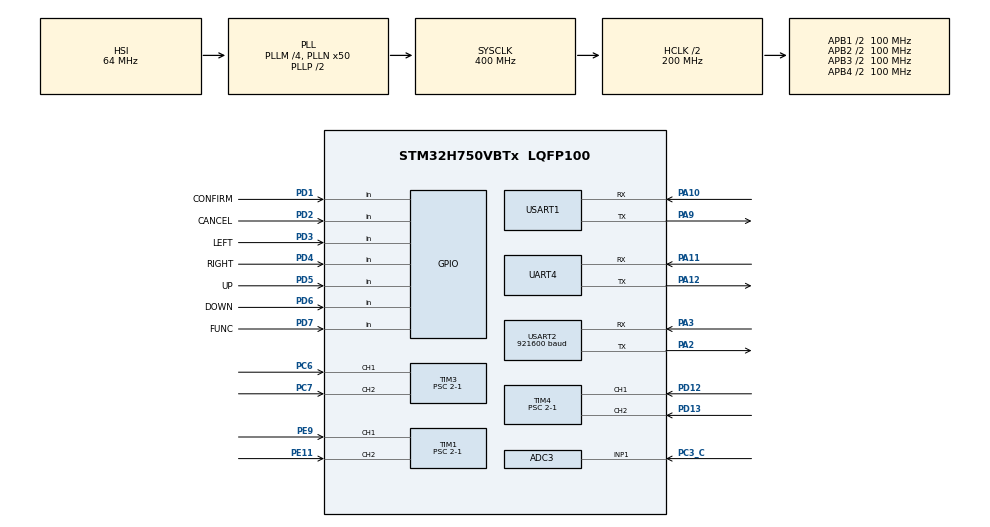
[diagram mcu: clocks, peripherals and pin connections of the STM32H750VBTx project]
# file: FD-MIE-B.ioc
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ADC3.Channel-0\#ChannelRegularConversion=ADC_CHANNEL_1
ADC3.NbrOfConversionFlag=1
ADC3.OffsetNumber-0\#ChannelRegularConversion=ADC_OFFSET_NONE
ADC3.OffsetSignedSaturation-0\#ChannelRegularConversion=DISABLE
ADC3.Rank-0\#ChannelRegularConversion=1
ADC3.SamplingTime-0\#ChannelRegularConversion=ADC_SAMPLETIME_1CYCLE_5
Dma.Request0=TIM2_UP
Dma.Request1=USART1_TX
Dma.TIM2_UP.0.Direction=DMA_PERIPH_TO_MEMORY
Dma.TIM2_UP.0.EventEnable=DISABLE
Dma.TIM2_UP.0.FIFOMode=DMA_FIFOMODE_DISABLE
Dma.TIM2_UP.0.Instance=DMA1_Stream1
Dma.TIM2_UP.0.MemDataAlignment=DMA_MDATAALIGN_WORD
Dma.TIM2_UP.0.MemInc=DMA_MINC_ENABLE
Dma.TIM2_UP.0.Mode=DMA_CIRCULAR
Dma.TIM2_UP.0.PeriphDataAlignment=DMA_PDATAALIGN_WORD
Dma.TIM2_UP.0.PeriphInc=DMA_PINC_DISABLE
Dma.TIM2_UP.0.Polarity=HAL_DMAMUX_REQ_GEN_RISING
Dma.TIM2_UP.0.Priority=DMA_PRIORITY_LOW
Dma.TIM2_UP.0.RequestNumber=1
Dma.TIM2_UP.0.SignalID=NONE
Dma.TIM2_UP.0.SyncEnable=DISABLE
Dma.TIM2_UP.0.SyncPolarity=HAL_DMAMUX_SYNC_NO_EVENT
Dma.TIM2_UP.0.SyncRequestNumber=1
Dma.TIM2_UP.0.SyncSignalID=NONE
Dma.USART1_TX.1.Direction=DMA_MEMORY_TO_PERIPH
Dma.USART1_TX.1.EventEnable=DISABLE
Dma.USART1_TX.1.FIFOMode=DMA_FIFOMODE_DISABLE
Dma.USART1_TX.1.Instance=DMA1_Stream2
Dma.USART1_TX.1.MemDataAlignment=DMA_MDATAALIGN_BYTE
Dma.USART1_TX.1.MemInc=DMA_MINC_ENABLE
Dma.USART1_TX.1.Mode=DMA_NORMAL
Dma.USART1_TX.1.PeriphDataAlignment=DMA_PDATAALIGN_BYTE
Dma.USART1_TX.1.PeriphInc=DMA_PINC_DISABLE
Dma.USART1_TX.1.Polarity=HAL_DMAMUX_REQ_GEN_RISING
Dma.USART1_TX.1.Priority=DMA_PRIORITY_LOW
Dma.USART1_TX.1.RequestNumber=1
Dma.USART1_TX.1.SignalID=NONE
Dma.USART1_TX.1.SyncEnable=DISABLE
Dma.USART1_TX.1.SyncPolarity=HAL_DMAMUX_SYNC_NO_EVENT
Dma.USART1_TX.1.SyncRequestNumber=1
Dma.USART1_TX.1.SyncSignalID=NONE
Mcu.Family=STM32H7
Mcu.Name=STM32H750VBTx
Mcu.Package=LQFP100
NVIC.DMA1_Stream1_IRQn=true\:0\:0\:false\:false\:true\:false\:true\:true
NVIC.DMA1_Stream2_IRQn=true\:0\:0\:false\:false\:true\:false\:true\:true
NVIC.PriorityGroup=NVIC_PRIORITYGROUP_4
NVIC.TIM2_IRQn=true\:1\:0\:true\:false\:true\:true\:true\:true
NVIC.TIM5_IRQn=true\:1\:0\:true\:false\:true\:true\:true\:true
NVIC.TIM6_DAC_IRQn=true\:1\:0\:true\:false\:true\:true\:true\:true
NVIC.TIM7_IRQn=true\:1\:0\:true\:false\:true\:true\:true\:true
NVIC.USART1_IRQn=true\:1\:0\:true\:false\:true\:true\:true\:true
PA10.Mode=Asynchronous
PA10.Signal=USART1_RX
PA11.Mode=Asynchronous
PA11.Signal=UART4_RX
PA12.Mode=Asynchronous
PA12.Signal=UART4_TX
PA2.Mode=Asynchronous
PA2.Signal=USART2_TX
PA3.Mode=Asynchronous
PA3.Signal=USART2_RX
PA9.Mode=Asynchronous
PA9.Signal=USART1_TX
PC3_C.Mode=IN1-Single-Ended
PC3_C.Signal=ADC3_INP1
PC6.Signal=S_TIM3_CH1
PC7.Signal=S_TIM3_CH2
PD1.GPIO_Label=CONFIRM
PD1.GPIO_PuPd=GPIO_PULLUP
PD1.Signal=GPIO_Input
PD12.Signal=S_TIM4_CH1
PD13.Signal=S_TIM4_CH2
PD2.GPIO_Label=CANCEL
PD2.GPIO_PuPd=GPIO_PULLUP
PD2.Signal=GPIO_Input
PD3.GPIO_Label=LEFT
PD3.GPIO_PuPd=GPIO_PULLUP
PD3.Signal=GPIO_Input
PD4.GPIO_Label=RIGHT
PD4.GPIO_PuPd=GPIO_PULLUP
PD4.Signal=GPIO_Input
PD5.GPIO_Label=UP
PD5.GPIO_PuPd=GPIO_PULLUP
PD5.Signal=GPIO_Input
PD6.GPIO_Label=DOWN
PD6.GPIO_PuPd=GPIO_PULLUP
PD6.Signal=GPIO_Input
PD7.GPIO_Label=FUNC
PD7.GPIO_PuPd=GPIO_PULLUP
PD7.Signal=GPIO_Input
PE11.Signal=S_TIM1_CH2
PE9.Signal=S_TIM1_CH1
PH0-OSC_IN\ (PH0).Mode=HSE-External-Oscillator
PH0-OSC_IN\ (PH0).Signal=RCC_OSC_IN
PH1-OSC_OUT\ (PH1).Mode=HSE-External-Oscillator
PH1-OSC_OUT\ (PH1).Signal=RCC_OSC_OUT
ProjectManager.HeapSize=0x200
ProjectManager.StackSize=0x400
ProjectManager.TargetToolchain=MDK-ARM V5.32
RCC.ADCFreq_Value=75000000
RCC.APB1Freq_Value=100000000
RCC.APB2Freq_Value=100000000
RCC.APB3Freq_Value=100000000
RCC.APB4Freq_Value=100000000
RCC.CortexFreq_Value=400000000
RCC.D1PPRE=RCC_APB3_DIV2
RCC.D2PPRE1=RCC_APB1_DIV2
RCC.D2PPRE2=RCC_APB2_DIV2
RCC.D3PPRE=RCC_APB4_DIV2
RCC.DIVM1=4
RCC.DIVM2=4
RCC.DIVN1=50
RCC.DIVN2=9
RCC.HCLKFreq_Value=200000000
RCC.HPRE=RCC_HCLK_DIV2
RCC.PLL2FRACN=3072
RCC.PLL3FRACN=0
RCC.PLLFRACN=0
RCC.SYSCLKFreq_VALUE=400000000
RCC.SYSCLKSource=RCC_SYSCLKSOURCE_PLLCLK
RCC.USBFreq_Value=400000000
SH.S_TIM1_CH1.0=TIM1_CH1,Encoder_Interface
SH.S_TIM1_CH2.0=TIM1_CH2,Encoder_Interface
SH.S_TIM3_CH1.0=TIM3_CH1,Encoder_Interface
SH.S_TIM3_CH2.0=TIM3_CH2,Encoder_Interface
SH.S_TIM4_CH1.0=TIM4_CH1,Encoder_Interface
SH.S_TIM4_CH2.0=TIM4_CH2,Encoder_Interface
TIM1.Prescaler=2-1
TIM2.Period=1000-1
TIM2.Prescaler=200-1
TIM3.Prescaler=2-1
TIM4.Prescaler=2-1
TIM5.Period=1000-1
TIM5.Prescaler=2000-1
TIM6.Period=10000-1
TIM6.Prescaler=2000-1
TIM7.Period=1000-1
TIM7.Prescaler=200-1
USART1.VirtualMode-Asynchronous=VM_ASYNC
USART2.BaudRate=921600
USART2.VirtualMode-Asynchronous=VM_ASYNC
VP_TIM2_VS_ClockSourceINT.Mode=Internal
VP_TIM5_VS_ClockSourceINT.Mode=Internal
VP_TIM6_VS_ClockSourceINT.Mode=Enable_Timer
VP_TIM7_VS_ClockSourceINT.Mode=Enable_Timer
board=custom

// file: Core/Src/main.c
/* USER CODE BEGIN Header */
/**
  ******************************************************************************
  * @file           : main.c
  * @brief          : Main program body
  ******************************************************************************
  * @attention
  *
  * Copyright (c) 2025 STMicroelectronics.
  * All rights reserved.
  *
  * This software is licensed under terms that can be found in the LICENSE file
  * in the root directory of this software component.
  * If no LICENSE file comes with this software, it is provided AS-IS.
  *
  ******************************************************************************
  */
/* USER CODE END Header */
#include "main.h"
#include "adc.h"
#include "dma.h"
#include "tim.h"
#include "usart.h"
#include "gpio.h"

/* USER CODE BEGIN Includes */
#include "stdio.h"
#include "function.h"
#include "encoder.h"
#include "gui.h"
#include "menu.h"
#include "button.h"
/* USER CODE END Includes */

/* USER CODE BEGIN PD */
#define ENCODER_BUFFER_SIZE 256
volatile uint32_t encoder_buffer[ENCODER_BUFFER_SIZE];
volatile uint32_t encoder_buffer_index = 0;

_Bool tim2_flag;
/* USER CODE END PD */

/* USER CODE BEGIN PV */
uint16_t current_count=30000,last_count=30000,adc_value,adc_value_setzero;
uint16_t current_angle=30000,last_angle=30000;
uint32_t current_time;

_Bool skip=1;
/* USER CODE END PV */

void SystemClock_Config(void);
/* USER CODE BEGIN PFP */
//UART4接串口屏
//USART1接上位机
//USART2接U盘读写模块
int fputc(int ch, FILE* file)
{
    UART4->TDR = ch & 0xFF;

    while((UART4->ISR & UART_FLAG_TC) == RESET);

    return ch;
}
/* USER CODE END PFP */

int main(void)
{

  /* MCU Configuration--------------------------------------------------------*/

  /* Reset of all peripherals, Initializes the Flash interface and the Systick. */
  HAL_Init();

  /* Configure the system clock */
  SystemClock_Config();

  /* Initialize all configured peripherals */
  MX_GPIO_Init();
  MX_DMA_Init();
  MX_TIM2_Init();
  MX_UART4_Init();
  MX_USART1_UART_Init();
  MX_TIM1_Init();
  MX_ADC3_Init();
  MX_TIM3_Init();
  MX_TIM4_Init();
  MX_USART2_UART_Init();
  MX_TIM6_Init();
  MX_TIM7_Init();
  MX_TIM5_Init();
  /* USER CODE BEGIN 2 */
	encoder_init();

//	__HAL_TIM_ENABLE_DMA(&htim2, TIM_DMA_UPDATE);
//	HAL_DMA_Start_IT(&hdma_tim2_up,(uint32_t)&TIM1->CNT,(uint32_t)&current_count,2);
	HAL_ADCEx_Calibration_Start(&hadc_lightstrength,ADC_CALIB_OFFSET_LINEARITY,ADC_SINGLE_ENDED);

//	HAL_TIM_Base_Start_IT(&htim_journey_process);
	HAL_TIM_Base_Start_IT(&htim_key);
	HAL_ADC_Start(&hadc_lightstrength);
	page=MAIN;
	printf("page main\xff\xff\xff");
	printf("page main\xff\xff\xff");
	printf("page main\xff\xff\xff");
  /* USER CODE END 2 */

  /* Infinite loop */
  /* USER CODE BEGIN WHILE */

  while (1)
  {
		//图像刷新程序
		switch(page)
		{
			int32_t send_number;
			default:break;
			case MEA_JOURNEY:
			{
				send_number=(index_save-index_send+MAX_NUM_JOURNEY)%MAX_NUM_JOURNEY;
				Send_Coordinates_I32_I16(count,voltage,send_number);
				renew_screen();
			}break;
			case QUERY_JOURNEY:
			{
				renew_screen();
			}break;
			case MEA_ANGLE:
			{
				send_number=(index_save_angle-index_send_angle+MAX_NUM_ANGLE)%MAX_NUM_ANGLE;
				Send_Coordinates_I32_I16(angle,voltage_angle,send_number);
				renew_screen_angle();
			}break;
			case QUERY_ANGLE:
			{
				renew_screen_angle();
			}break;
			case MEA_TIME:
			{
//				send_number=(index_save_time-index_send_time+MAX_NUM_TIME)%MAX_NUM_TIME;
//				Send_Coordinates_I32_I16(time,voltage_time,send_number);
			}break;
			case QUERY_TIME:
			{
				renew_query_time();
			}break;
			case MAIN:
			{

				HAL_ADC_Start(&hadc_lightstrength);
			}
		}
    HAL_Delay(20);

    /* USER CODE END WHILE */

  }
}

void SystemClock_Config(void)
{
  RCC_OscInitTypeDef RCC_OscInitStruct = {0};
  RCC_ClkInitTypeDef RCC_ClkInitStruct = {0};

  /** Supply configuration update enable
  */
  HAL_PWREx_ConfigSupply(PWR_LDO_SUPPLY);

  /** Configure the main internal regulator output voltage
  */
  __HAL_PWR_VOLTAGESCALING_CONFIG(PWR_REGULATOR_VOLTAGE_SCALE1);

  while(!__HAL_PWR_GET_FLAG(PWR_FLAG_VOSRDY)) {}

  /** Initializes the RCC Oscillators according to the specified parameters
  * in the RCC_OscInitTypeDef structure.
  */
  RCC_OscInitStruct.OscillatorType = RCC_OSCILLATORTYPE_HSI;
  RCC_OscInitStruct.HSIState = RCC_HSI_DIV1;
  RCC_OscInitStruct.HSICalibrationValue = RCC_HSICALIBRATION_DEFAULT;
  RCC_OscInitStruct.PLL.PLLState = RCC_PLL_ON;
  RCC_OscInitStruct.PLL.PLLSource = RCC_PLLSOURCE_HSI;
  RCC_OscInitStruct.PLL.PLLM = 4;
  RCC_OscInitStruct.PLL.PLLN = 50;
  RCC_OscInitStruct.PLL.PLLP = 2;
  RCC_OscInitStruct.PLL.PLLQ = 2;
  RCC_OscInitStruct.PLL.PLLR = 2;
  RCC_OscInitStruct.PLL.PLLRGE = RCC_PLL1VCIRANGE_3;
  RCC_OscInitStruct.PLL.PLLVCOSEL = RCC_PLL1VCOWIDE;
  RCC_OscInitStruct.PLL.PLLFRACN = 0;
  if (HAL_RCC_OscConfig(&RCC_OscInitStruct) != HAL_OK)
  {
    Error_Handler();
  }

  /** Initializes the CPU, AHB and APB buses clocks
  */
  RCC_ClkInitStruct.ClockType = RCC_CLOCKTYPE_HCLK|RCC_CLOCKTYPE_SYSCLK
                              |RCC_CLOCKTYPE_PCLK1|RCC_CLOCKTYPE_PCLK2
                              |RCC_CLOCKTYPE_D3PCLK1|RCC_CLOCKTYPE_D1PCLK1;
  RCC_ClkInitStruct.SYSCLKSource = RCC_SYSCLKSOURCE_PLLCLK;
  RCC_ClkInitStruct.SYSCLKDivider = RCC_SYSCLK_DIV1;
  RCC_ClkInitStruct.AHBCLKDivider = RCC_HCLK_DIV2;
  RCC_ClkInitStruct.APB3CLKDivider = RCC_APB3_DIV2;
  RCC_ClkInitStruct.APB1CLKDivider = RCC_APB1_DIV2;
  RCC_ClkInitStruct.APB2CLKDivider = RCC_APB2_DIV2;
  RCC_ClkInitStruct.APB4CLKDivider = RCC_APB4_DIV2;

  if (HAL_RCC_ClockConfig(&RCC_ClkInitStruct, FLASH_LATENCY_2) != HAL_OK)
  {
    Error_Handler();
  }
}

/* USER CODE BEGIN 4 */
void HAL_TIM_PeriodElapsedCallback(TIM_HandleTypeDef *htim)
{

  if(htim->Instance==htim_journey_process.Instance)
	{
			if(TIM_JOURNEY_ENCODER->CNT>=32000)
			{
				TIM_JOURNEY_ENCODER->CNT=TIM_JOURNEY_ENCODER->CNT-2000;
				round_now++;
			}
			else if(TIM_JOURNEY_ENCODER->CNT<=28000)
			{
				TIM_JOURNEY_ENCODER->CNT=TIM_JOURNEY_ENCODER->CNT+2000;
				round_now--;
			}
			current_count = (int32_t)TIM_JOURNEY_ENCODER->CNT;

			if (current_count != last_count)
			{
			//	if(skip==1){skip=0;return;};
				last_count = current_count;
				HAL_ADC_Start(&hadc_lightstrength);
				adc_value=HAL_ADC_GetValue(&hadc_lightstrength);
				save_data();
			}
	}
	if(htim->Instance==htim_angle_process.Instance)
	{
			if(TIM_ANGLE_ENCODER->CNT>=32000)
			{
				TIM_ANGLE_ENCODER->CNT=TIM_ANGLE_ENCODER->CNT-2000;
				round_now_angle++;
			}
			else if(TIM_ANGLE_ENCODER->CNT<=28000)
			{
				TIM_ANGLE_ENCODER->CNT=TIM_ANGLE_ENCODER->CNT+2000;
				round_now_angle--;
			}
			current_angle = (int32_t)TIM_ANGLE_ENCODER->CNT;

			if (current_angle != last_angle)
			{
			//	if(skip==1){skip=0;return;};
				last_angle = current_angle;
				HAL_ADC_Start(&hadc_lightstrength);
				adc_value=HAL_ADC_GetValue(&hadc_lightstrength);
				save_angle();
			}
	}
	if(htim->Instance==htim_time_process.Instance)
	{
		static uint16_t counter;
		counter++;
		//current_time++;
		if(counter>=sample_interval)
		{
			current_time+=sample_interval;
			counter=0;
			HAL_ADC_Start(&hadc_lightstrength);
			adc_value=HAL_ADC_GetValue(&hadc_lightstrength);
			save_time();
			if(index_save_time>=1)
			{
				renew_screen_time();
				Send_Coordinate_I32_I16(time[index_save_time-1],voltage_time[index_save_time-1]);
			}
		}
	}
	if(htim->Instance==htim_key.Instance)//10ms
	{
		static uint16_t dokey_counter;
		dokey_counter++;
		Key_Scan();
		if(dokey_counter==10)//0.1s
		{
			dokey_counter=0;
			do_key();
			get_encoder();
		}

	}
}

/* USER CODE END 4 */

void Error_Handler(void)
{
  __disable_irq();
  while (1)
  {
  }
}
